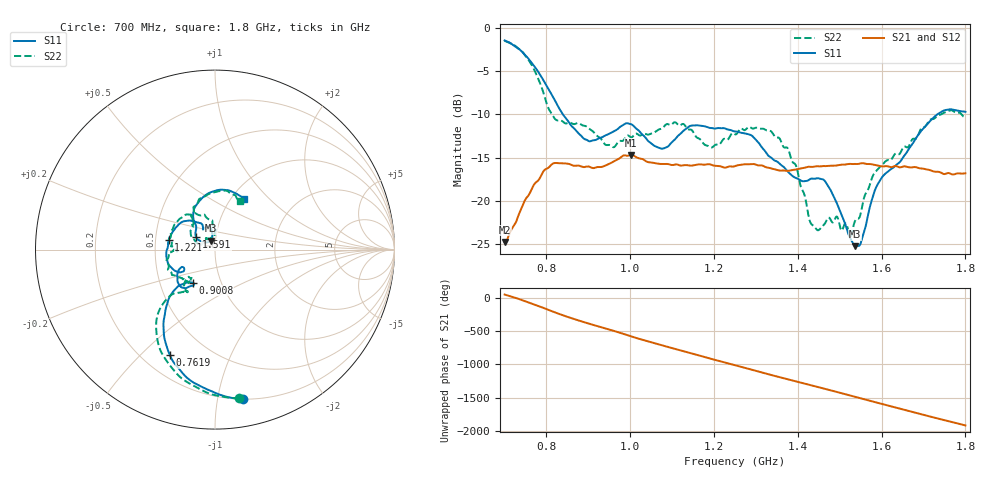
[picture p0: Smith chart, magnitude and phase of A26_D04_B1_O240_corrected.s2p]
! Created with skrf 1.9.0 (http://scikit-rf.org).
# Hz S RI R 50.0
!freq ReS11 ImS11 ReS21 ImS21 ReS12 ImS12 ReS22 ImS22
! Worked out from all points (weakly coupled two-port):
!   1601 points, 700 MHz to 1.8 GHz, reference 50 ohm
!   highest |S21| = -14.67 dB at 1.002 GHz (marker M1); lowest = -24.7 dB at 700 MHz (marker M2)
!   lowest |S11| = -25.2 dB at 1.537 GHz (marker M3), VSWR 1.12, Z = 47.5 + j4.75 ohm
!   |S11| at or under -10 dB: 839.2 MHz to 1.733 GHz (893.4 MHz wide, 69.5 % of centre)
!   |S22| runs from -24.1 to -1.5 dB; largest |S21 - S12| = 0.0033
!   S11 on the Smith chart (normalised r, x): 700 MHz: 0.20, -1.19; 761.9 MHz: 0.31, -0.62; 900.8 MHz: 0.73, -0.28; 1.221 GHz: 0.59, +0.07; 1.591 GHz: 0.80, +0.11; 1.8 GHz: 1.14, +0.73
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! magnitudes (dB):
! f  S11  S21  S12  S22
! 700 MHz  -1.5  -24.7  -24.5  -1.5
! 761.9 MHz  -3.9  -18.9  -18.9  -4.1
! 818.9 MHz  -8.3  -15.6  -15.7  -10.4
! 883.6 MHz  -12.5  -16.0  -15.9  -11.2
! 900.8 MHz  -13.1  -16.0  -16.0  -11.6
! 957.8 MHz  -12.0  -15.5  -15.5  -13.8
! 1.002 GHz  -11.1  -14.7  -14.8  -12.6
! 1.067 GHz  -13.8  -15.7  -15.6  -11.8
! 1.145 GHz  -11.3  -15.9  -15.9  -11.7
! 1.221 GHz  -11.6  -16.1  -16.1  -12.9
! 1.25 GHz  -12.0  -16.0  -15.9  -12.3
! 1.356 GHz  -15.7  -16.5  -16.4  -12.7
! 1.396 GHz  -17.3  -16.4  -16.3  -15.9
! 1.434 GHz  -17.4  -16.1  -16.0  -22.7
! 1.47 GHz  -18.1  -16.0  -15.9  -22.1
! 1.525 GHz  -24.3  -15.7  -15.7  -24.1
! 1.537 GHz  -25.2  -15.7  -15.7  -22.3
! 1.551 GHz  -24.7  -15.6  -15.7  -21.2
! 1.591 GHz  -18.0  -15.9  -15.9  -16.3
! 1.617 GHz  -16.5  -16.0  -16.0  -15.3
! 1.731 GHz  -10.1  -16.6  -16.6  -10.3
! 1.8 GHz  -9.7  -16.8  -16.8  -10.3
